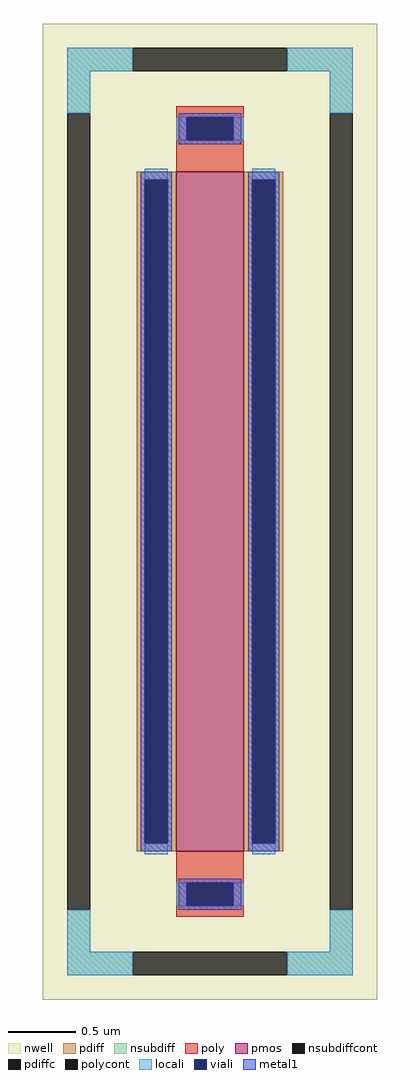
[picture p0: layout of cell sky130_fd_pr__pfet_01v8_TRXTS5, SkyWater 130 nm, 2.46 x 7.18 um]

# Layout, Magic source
magic
tech sky130A
<< nwell >>
rect -123 -359 123 359
<< pmos >>
rect -25 -250 25 250
<< pdiff >>
rect -54 244 -25 250
rect -54 -244 -48 244
rect -31 -244 -25 244
rect -54 -250 -25 -244
rect 25 244 54 250
rect 25 -244 31 244
rect 48 -244 54 244
rect 25 -250 54 -244
<< pdiffc >>
rect -48 -244 -31 244
rect 31 -244 48 244
<< nsubdiff >>
rect -105 324 -57 341
rect 57 324 105 341
rect -105 293 -88 324
rect 88 293 105 324
rect -105 -324 -88 -293
rect 88 -324 105 -293
rect -105 -341 -57 -324
rect 57 -341 105 -324
<< nsubdiffcont >>
rect -57 324 57 341
rect -105 -293 -88 293
rect 88 -293 105 293
rect -57 -341 57 -324
<< poly >>
rect -25 290 25 298
rect -25 273 -17 290
rect 17 273 25 290
rect -25 250 25 273
rect -25 -273 25 -250
rect -25 -290 -17 -273
rect 17 -290 25 -273
rect -25 -298 25 -290
<< polycont >>
rect -17 273 17 290
rect -17 -290 17 -273
<< locali >>
rect -105 324 -57 341
rect 57 324 105 341
rect -105 293 -88 324
rect 88 293 105 324
rect -25 273 -17 290
rect 17 273 25 290
rect -48 244 -31 252
rect -48 -252 -31 -244
rect 31 244 48 252
rect 31 -252 48 -244
rect -25 -290 -17 -273
rect 17 -290 25 -273
rect -105 -324 -88 -293
rect 88 -324 105 -293
rect -105 -341 -57 -324
rect 57 -341 105 -324
<< viali >>
rect -17 273 17 290
rect -48 -244 -31 244
rect 31 -244 48 244
rect -17 -290 17 -273
<< metal1 >>
rect -23 290 23 293
rect -23 273 -17 290
rect 17 273 23 290
rect -23 270 23 273
rect -51 244 -28 250
rect -51 -244 -48 244
rect -31 -244 -28 244
rect -51 -250 -28 -244
rect 28 244 51 250
rect 28 -244 31 244
rect 48 -244 51 244
rect 28 -250 51 -244
rect -23 -273 23 -270
rect -23 -290 -17 -273
rect 17 -290 23 -273
rect -23 -293 23 -290
<< properties >>
string FIXED_BBOX -96 -333 96 333
string gencell sky130_fd_pr__pfet_01v8
string library sky130
string parameters w 5 l 0.5 m 1 nf 1 diffcov 100 polycov 100 guard 1 glc 1 grc 1 gtc 1 gbc 1 tbcov 100 rlcov 100 topc 1 botc 1 poverlap 0 doverlap 1 lmin 0.15 wmin 0.42 compatible {sky130_fd_pr__pfet_01v8  sky130_fd_pr__pfet_01v8_lvt sky130_fd_pr__pfet_01v8_hvt  sky130_fd_pr__pfet_g5v0d10v5} full_metal 1 viasrc 100 viadrn 100 viagate 100 viagb 0 viagr 0 viagl 0 viagt 0
<< end >>
